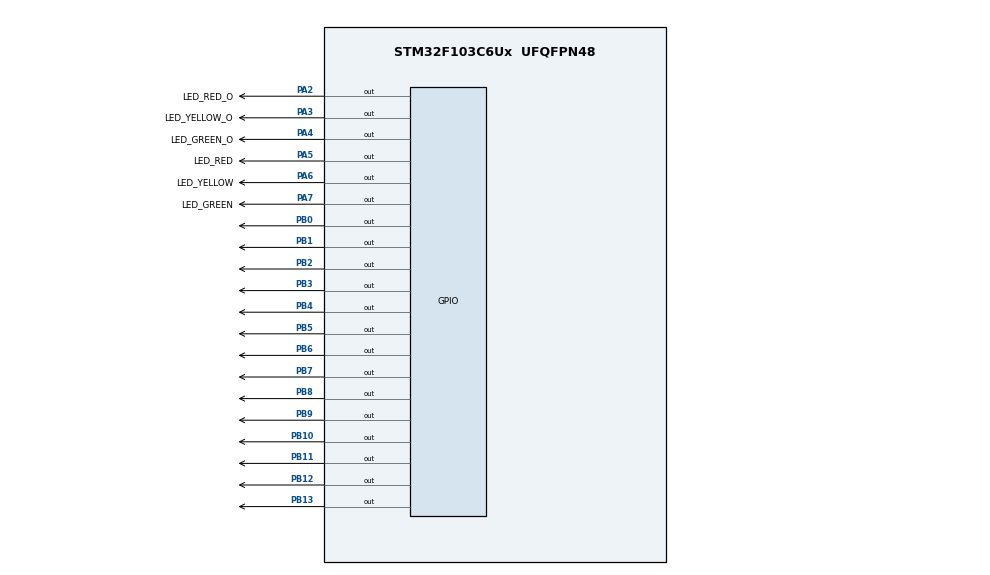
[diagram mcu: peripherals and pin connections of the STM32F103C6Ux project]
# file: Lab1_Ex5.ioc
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Mcu.Family=STM32F1
Mcu.Name=STM32F103C6Ux
Mcu.Package=UFQFPN48
NVIC.PriorityGroup=NVIC_PRIORITYGROUP_4
PA2.GPIO_Label=LED_RED_O
PA2.Signal=GPIO_Output
PA3.GPIO_Label=LED_YELLOW_O
PA3.Signal=GPIO_Output
PA4.GPIO_Label=LED_GREEN_O
PA4.Signal=GPIO_Output
PA5.GPIO_Label=LED_RED
PA5.Signal=GPIO_Output
PA6.GPIO_Label=LED_YELLOW
PA6.Signal=GPIO_Output
PA7.GPIO_Label=LED_GREEN
PA7.Signal=GPIO_Output
PB0.Signal=GPIO_Output
PB1.Signal=GPIO_Output
PB10.Signal=GPIO_Output
PB11.Signal=GPIO_Output
PB12.Signal=GPIO_Output
PB13.Signal=GPIO_Output
PB2.Signal=GPIO_Output
PB3.Signal=GPIO_Output
PB4.Signal=GPIO_Output
PB5.Signal=GPIO_Output
PB6.Signal=GPIO_Output
PB7.Signal=GPIO_Output
PB8.Signal=GPIO_Output
PB9.Signal=GPIO_Output
ProjectManager.HeapSize=0x200
ProjectManager.StackSize=0x400
ProjectManager.TargetToolchain=STM32CubeIDE
RCC.APB1Freq_Value=8000000
RCC.APB2Freq_Value=8000000
VP_SYS_VS_ND.Mode=No_Debug
board=custom

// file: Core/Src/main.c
/* USER CODE BEGIN Header */
/**
  ******************************************************************************
  * @file           : main.c
  * @brief          : Main program body
  ******************************************************************************
  * @attention
  *
  * <h2><center>&copy; Copyright (c) 2022 STMicroelectronics.
  * All rights reserved.</center></h2>
  *
  * This software component is licensed by ST under BSD 3-Clause license,
  * the "License"; You may not use this file except in compliance with the
  * License. You may obtain a copy of the License at:
  *                        opensource.org/licenses/BSD-3-Clause
  *
  ******************************************************************************
  */
/* USER CODE END Header */
#include "main.h"

void SystemClock_Config(void);
static void MX_GPIO_Init(void);

int main(void)
{
  /* USER CODE BEGIN 1 */
			void displaySeg7A(int count_time){//7seg_control_COM_ANODE
				switch(count_time){

					  case 1:{
						  HAL_GPIO_WritePin(GPIOB,GPIO_PIN_13,1);
						  HAL_GPIO_WritePin(GPIOB,GPIO_PIN_7,1);
						  HAL_GPIO_WritePin(GPIOB,GPIO_PIN_8,0);
						  HAL_GPIO_WritePin(GPIOB,GPIO_PIN_9,0);
						  HAL_GPIO_WritePin(GPIOB,GPIO_PIN_10,1);
						  HAL_GPIO_WritePin(GPIOB,GPIO_PIN_11,1);
						  HAL_GPIO_WritePin(GPIOB,GPIO_PIN_12,1);
						  break ;
					  	  };
					  case 2:{
						  HAL_GPIO_WritePin(GPIOB,GPIO_PIN_7,0);
						   HAL_GPIO_WritePin(GPIOB,GPIO_PIN_9,1);
						   HAL_GPIO_WritePin(GPIOB,GPIO_PIN_10,0);
						   HAL_GPIO_WritePin(GPIOB,GPIO_PIN_11,0);
						   HAL_GPIO_WritePin(GPIOB,GPIO_PIN_13,0);
						   HAL_GPIO_WritePin(GPIOB,GPIO_PIN_8,0);
						   HAL_GPIO_WritePin(GPIOB,GPIO_PIN_12,1);
						   break ;
					  };
					  case 3: {
						  HAL_GPIO_WritePin(GPIOB,GPIO_PIN_7,0);
						  HAL_GPIO_WritePin(GPIOB,GPIO_PIN_8,0);
						  HAL_GPIO_WritePin(GPIOB,GPIO_PIN_9,0);
						  HAL_GPIO_WritePin(GPIOB,GPIO_PIN_10,0);
						  HAL_GPIO_WritePin(GPIOB,GPIO_PIN_11,1);
						  HAL_GPIO_WritePin(GPIOB,GPIO_PIN_12,1);
						  HAL_GPIO_WritePin(GPIOB,GPIO_PIN_13,0);
						  break;
					  };
					  case 4:{
						  HAL_GPIO_WritePin(GPIOB,GPIO_PIN_7,1);
						  HAL_GPIO_WritePin(GPIOB,GPIO_PIN_8,0);
						  HAL_GPIO_WritePin(GPIOB,GPIO_PIN_9,0);
						  HAL_GPIO_WritePin(GPIOB,GPIO_PIN_10,1);
						  HAL_GPIO_WritePin(GPIOB,GPIO_PIN_11,1);
						  HAL_GPIO_WritePin(GPIOB,GPIO_PIN_12,0);
						  HAL_GPIO_WritePin(GPIOB,GPIO_PIN_13,0);
						  break;
					  };
					  case 5:{
						  HAL_GPIO_WritePin(GPIOB,GPIO_PIN_7,0);
						  HAL_GPIO_WritePin(GPIOB,GPIO_PIN_8,1);
						  HAL_GPIO_WritePin(GPIOB,GPIO_PIN_9,0);
						  HAL_GPIO_WritePin(GPIOB,GPIO_PIN_10,0);
						  HAL_GPIO_WritePin(GPIOB,GPIO_PIN_11,1);
						  HAL_GPIO_WritePin(GPIOB,GPIO_PIN_12,0);
						  HAL_GPIO_WritePin(GPIOB,GPIO_PIN_13,0);
			//			  HAL_GPIO_WritePin( LED_YELLOW_GPIO_Port , LED_YELLOW_Pin,0);
			//			  HAL_GPIO_WritePin( LED_RED_GPIO_Port , LED_RED_Pin,1);
			//			  HAL_GPIO_WritePin( LED_GREEN_GPIO_Port , LED_GREEN_Pin,1);

						  break;
					  };
			//		  case 6:{
			//			  HAL_GPIO_WritePin(GPIOB,GPIO_PIN_7,0);
			//			  HAL_GPIO_WritePin(GPIOB,GPIO_PIN_8,1);
			//			  HAL_GPIO_WritePin(GPIOB,GPIO_PIN_9,0);
			//			  HAL_GPIO_WritePin(GPIOB,GPIO_PIN_10,0);
			//			  HAL_GPIO_WritePin(GPIOB,GPIO_PIN_11,0);
			//			  HAL_GPIO_WritePin(GPIOB,GPIO_PIN_12,0);
			//			  HAL_GPIO_WritePin(GPIOB,GPIO_PIN_13,0);
			//			  break;
			//		  };
			//		  case 7:{
			//			  HAL_GPIO_WritePin(GPIOB,GPIO_PIN_7,0);
			//			  HAL_GPIO_WritePin(GPIOB,GPIO_PIN_8,0);
			//			  HAL_GPIO_WritePin(GPIOB,GPIO_PIN_9,0);
			//			  HAL_GPIO_WritePin(GPIOB,GPIO_PIN_10,1);
			//			  HAL_GPIO_WritePin(GPIOB,GPIO_PIN_11,1);
			//			  HAL_GPIO_WritePin(GPIOB,GPIO_PIN_12,1);
			//			  HAL_GPIO_WritePin(GPIOB,GPIO_PIN_13,1);
			////			  HAL_GPIO_WritePin( LED_GREEN_GPIO_Port , LED_GREEN_Pin,0);
			////			  HAL_GPIO_WritePin(LED_YELLOW_GPIO_Port , LED_YELLOW_Pin,1);
			////			  HAL_GPIO_WritePin( LED_RED_GPIO_Port , LED_RED_Pin,1);
			//			  break;
			//		  };
			//		  case 8:{
			//			  HAL_GPIO_WritePin(GPIOB,GPIO_PIN_7,0);
			//			  HAL_GPIO_WritePin(GPIOB,GPIO_PIN_8,0);
			//			  HAL_GPIO_WritePin(GPIOB,GPIO_PIN_9,0);
			//			  HAL_GPIO_WritePin(GPIOB,GPIO_PIN_10,0);
			//			  HAL_GPIO_WritePin(GPIOB,GPIO_PIN_11,0);
			//			  HAL_GPIO_WritePin(GPIOB,GPIO_PIN_12,0);
			//			  HAL_GPIO_WritePin(GPIOB,GPIO_PIN_13,0);
			//			 		  break;
			//		  };
			//		  case 9:{
			//			  HAL_GPIO_WritePin(GPIOB,GPIO_PIN_11,1);
			//			  HAL_GPIO_WritePin(GPIOB,GPIO_PIN_7,0);
			//			  HAL_GPIO_WritePin(GPIOB,GPIO_PIN_8,0);
			//			  HAL_GPIO_WritePin(GPIOB,GPIO_PIN_9,0);
			//			  HAL_GPIO_WritePin(GPIOB,GPIO_PIN_10,0);
			//			  HAL_GPIO_WritePin(GPIOB,GPIO_PIN_12,0);
			//			  HAL_GPIO_WritePin(GPIOB,GPIO_PIN_13,0);
			//			  count_time=-1;
			//			  break;
			//		  };
					  default:{
						  HAL_GPIO_WritePin(GPIOB,GPIO_PIN_7,0);
						 			  HAL_GPIO_WritePin(GPIOB,GPIO_PIN_8,0);
						 			  HAL_GPIO_WritePin(GPIOB,GPIO_PIN_9,0);
						 			  HAL_GPIO_WritePin(GPIOB,GPIO_PIN_10,0);
						 			  HAL_GPIO_WritePin(GPIOB,GPIO_PIN_11,0);
						 			  HAL_GPIO_WritePin(GPIOB,GPIO_PIN_12,0);
						 			  HAL_GPIO_WritePin(GPIOB,GPIO_PIN_13,0);
						 			  break;
					  }
					  };
			}
			void displaySeg7B(int count_time){
				switch(count_time){

					  case 1:{
						  HAL_GPIO_WritePin(GPIOB,GPIO_PIN_6,1);
						  HAL_GPIO_WritePin(GPIOB,GPIO_PIN_0,1);
						  HAL_GPIO_WritePin(GPIOB,GPIO_PIN_1,0);
						  HAL_GPIO_WritePin(GPIOB,GPIO_PIN_2,0);
						  HAL_GPIO_WritePin(GPIOB,GPIO_PIN_3,1);
						  HAL_GPIO_WritePin(GPIOB,GPIO_PIN_4,1);
						  HAL_GPIO_WritePin(GPIOB,GPIO_PIN_5,1);
						  break ;
					  	  };
					  case 2:{
						  HAL_GPIO_WritePin(GPIOB,GPIO_PIN_0,0);
						   HAL_GPIO_WritePin(GPIOB,GPIO_PIN_2,1);
						   HAL_GPIO_WritePin(GPIOB,GPIO_PIN_3,0);
						   HAL_GPIO_WritePin(GPIOB,GPIO_PIN_4,0);
						   HAL_GPIO_WritePin(GPIOB,GPIO_PIN_6,0);
						   HAL_GPIO_WritePin(GPIOB,GPIO_PIN_1,0);
						   HAL_GPIO_WritePin(GPIOB,GPIO_PIN_5,1);
						   break ;
					  };
					  case 3: {
						  HAL_GPIO_WritePin(GPIOB,GPIO_PIN_0,0);
						  HAL_GPIO_WritePin(GPIOB,GPIO_PIN_1,0);
						  HAL_GPIO_WritePin(GPIOB,GPIO_PIN_2,0);
						  HAL_GPIO_WritePin(GPIOB,GPIO_PIN_3,0);
						  HAL_GPIO_WritePin(GPIOB,GPIO_PIN_4,1);
						  HAL_GPIO_WritePin(GPIOB,GPIO_PIN_5,1);
						  HAL_GPIO_WritePin(GPIOB,GPIO_PIN_6,0);
						  break;
					  };
					  case 4:{
						  HAL_GPIO_WritePin(GPIOB,GPIO_PIN_0,1);
						  HAL_GPIO_WritePin(GPIOB,GPIO_PIN_1,0);
						  HAL_GPIO_WritePin(GPIOB,GPIO_PIN_2,0);
						  HAL_GPIO_WritePin(GPIOB,GPIO_PIN_3,1);
						  HAL_GPIO_WritePin(GPIOB,GPIO_PIN_4,1);
						  HAL_GPIO_WritePin(GPIOB,GPIO_PIN_5,0);
						  HAL_GPIO_WritePin(GPIOB,GPIO_PIN_6,0);
						  break;
					  };
					  case 5:{
						  HAL_GPIO_WritePin(GPIOB,GPIO_PIN_0,0);
						  HAL_GPIO_WritePin(GPIOB,GPIO_PIN_1,1);
						  HAL_GPIO_WritePin(GPIOB,GPIO_PIN_2,0);
						  HAL_GPIO_WritePin(GPIOB,GPIO_PIN_3,0);
						  HAL_GPIO_WritePin(GPIOB,GPIO_PIN_4,1);
						  HAL_GPIO_WritePin(GPIOB,GPIO_PIN_5,0);
						  HAL_GPIO_WritePin(GPIOB,GPIO_PIN_6,0);
			//			  HAL_GPIO_WritePin( LED_YELLOW_GPIO_Port , LED_YELLOW_Pin,0);
			//			  HAL_GPIO_WritePin( LED_RED_GPIO_Port , LED_RED_Pin,1);
			//			  HAL_GPIO_WritePin( LED_GREEN_GPIO_Port , LED_GREEN_Pin,1);

						  break;
					  };
			//		  case 6:{
			//			  HAL_GPIO_WritePin(GPIOB,GPIO_PIN_0,0);
			//			  HAL_GPIO_WritePin(GPIOB,GPIO_PIN_1,1);
			//			  HAL_GPIO_WritePin(GPIOB,GPIO_PIN_2,0);
			//			  HAL_GPIO_WritePin(GPIOB,GPIO_PIN_3,0);
			//			  HAL_GPIO_WritePin(GPIOB,GPIO_PIN_4,0);
			//			  HAL_GPIO_WritePin(GPIOB,GPIO_PIN_5,0);
			//			  HAL_GPIO_WritePin(GPIOB,GPIO_PIN_6,0);
			//			  break;
			//		  };
			//		  case 7:{
			//			  HAL_GPIO_WritePin(GPIOB,GPIO_PIN_0,0);
			//			  HAL_GPIO_WritePin(GPIOB,GPIO_PIN_1,0);
			//			  HAL_GPIO_WritePin(GPIOB,GPIO_PIN_2,0);
			//			  HAL_GPIO_WritePin(GPIOB,GPIO_PIN_3,1);
			//			  HAL_GPIO_WritePin(GPIOB,GPIO_PIN_4,1);
			//			  HAL_GPIO_WritePin(GPIOB,GPIO_PIN_5,1);
			//			  HAL_GPIO_WritePin(GPIOB,GPIO_PIN_6,1);
			////			  HAL_GPIO_WritePin( LED_GREEN_GPIO_Port , LED_GREEN_Pin,0);
			////			  HAL_GPIO_WritePin(LED_YELLOW_GPIO_Port , LED_YELLOW_Pin,1);
			////			  HAL_GPIO_WritePin( LED_RED_GPIO_Port , LED_RED_Pin,1);
			//			  break;
			//		  };
			//		  case 8:{
			//			  HAL_GPIO_WritePin(GPIOB,GPIO_PIN_0,0);
			//			  HAL_GPIO_WritePin(GPIOB,GPIO_PIN_1,0);
			//			  HAL_GPIO_WritePin(GPIOB,GPIO_PIN_2,0);
			//			  HAL_GPIO_WritePin(GPIOB,GPIO_PIN_3,0);
			//			  HAL_GPIO_WritePin(GPIOB,GPIO_PIN_4,0);
			//			  HAL_GPIO_WritePin(GPIOB,GPIO_PIN_5,0);
			//			  HAL_GPIO_WritePin(GPIOB,GPIO_PIN_6,0);
			//			 		  break;
			//		  };
			//		  case 9:{
			//			  HAL_GPIO_WritePin(GPIOB,GPIO_PIN_4,1);
			//			  HAL_GPIO_WritePin(GPIOB,GPIO_PIN_0,0);
			//			  HAL_GPIO_WritePin(GPIOB,GPIO_PIN_1,0);
			//			  HAL_GPIO_WritePin(GPIOB,GPIO_PIN_2,0);
			//			  HAL_GPIO_WritePin(GPIOB,GPIO_PIN_3,0);
			//			  HAL_GPIO_WritePin(GPIOB,GPIO_PIN_5,0);
			//			  HAL_GPIO_WritePin(GPIOB,GPIO_PIN_6,0);
			//			  count_time=-1;
			//			  break;
			//		  };

					  };
			}

  /* USER CODE END 1 */

  /* MCU Configuration--------------------------------------------------------*/

  /* Reset of all peripherals, Initializes the Flash interface and the Systick. */
  HAL_Init();

  /* Configure the system clock */
  SystemClock_Config();

  /* Initialize all configured peripherals */
  MX_GPIO_Init();

  /* Infinite loop */
  /* USER CODE BEGIN WHILE */
  	  	  int RedTime=5,GreenTime=3,YellowTime=2;
		  int status=0,statusO=2;
		  int CountTime=0,CountTimeO=0;
		  while (1)
		  		  {
		      /* USER CODE END WHILE */
		  			  if (status==0){
		  				  HAL_GPIO_WritePin(GPIOA,LED_YELLOW_Pin,0);
	  					  HAL_GPIO_WritePin(GPIOA,LED_RED_O_Pin,0);
		  				  displaySeg7B(RedTime-CountTime);
		  				  HAL_GPIO_WritePin(GPIOA,LED_RED_Pin,1);

		  				 CountTime++;
		  				  if(statusO==1){
		  					  displaySeg7A(YellowTime-CountTimeO);
		  			  		  CountTimeO++;
		  			  		  HAL_GPIO_WritePin(GPIOA,LED_GREEN_O_Pin,0);
		  			  		  HAL_GPIO_WritePin(GPIOA,LED_YELLOW_O_Pin,1);
		  					  if(CountTimeO==YellowTime){
		  				  		  statusO=0;
		  				  		  CountTimeO=0;
		  				  	  }
		  				  }
		  				  if(statusO==2){
		  					  displaySeg7A(GreenTime-CountTimeO);
		  					  CountTimeO++;
		  					  HAL_GPIO_WritePin(GPIOA,LED_GREEN_O_Pin,1);
		  					  if(CountTimeO==GreenTime){
		  						  statusO=1;
		  						  CountTimeO=0;
		  					  }
		  				  }
		  				  if(CountTime>RedTime){
		  					  status=1;CountTime=0;
		  				  }
		  			  }
		  			  if (status==1){
		  				  displaySeg7B(GreenTime-CountTime);
	  					  displaySeg7A(RedTime-CountTimeO);

		  				  HAL_GPIO_WritePin(GPIOA,LED_GREEN_Pin,1);
		  				  HAL_GPIO_WritePin(GPIOA,LED_RED_Pin,0);

	  					  HAL_GPIO_WritePin(GPIOA,LED_RED_O_Pin,1);
	  					  HAL_GPIO_WritePin(GPIOA,LED_YELLOW_O_Pin,0);
	  					  CountTimeO++;

		  				  CountTime++;
		  				  if(CountTime>GreenTime){
		  					  status=2;CountTime=0;CountTimeO--;
		  				  }
		  			  }
		  			  if (status==2){

		  				  HAL_GPIO_WritePin(GPIOA,LED_YELLOW_Pin,1);
		  				  HAL_GPIO_WritePin(GPIOA,LED_GREEN_Pin,0);
		  				  HAL_GPIO_WritePin(GPIOA,LED_RED_O_Pin,1);
		  				  displaySeg7B(YellowTime-CountTime);
		  				  CountTime++;
		  				  displaySeg7A(RedTime-CountTimeO);
		  				  CountTimeO++;
		  				  if(CountTime>=YellowTime){
		  					  status=0;CountTime=0;
		  					  statusO=2;CountTimeO=0;

		  				  }

		  			  }

		  			  HAL_Delay(1000);
		  		  }
}

void SystemClock_Config(void)
{
  RCC_OscInitTypeDef RCC_OscInitStruct = {0};
  RCC_ClkInitTypeDef RCC_ClkInitStruct = {0};

  /** Initializes the RCC Oscillators according to the specified parameters
  * in the RCC_OscInitTypeDef structure.
  */
  RCC_OscInitStruct.OscillatorType = RCC_OSCILLATORTYPE_HSI;
  RCC_OscInitStruct.HSIState = RCC_HSI_ON;
  RCC_OscInitStruct.HSICalibrationValue = RCC_HSICALIBRATION_DEFAULT;
  RCC_OscInitStruct.PLL.PLLState = RCC_PLL_NONE;
  if (HAL_RCC_OscConfig(&RCC_OscInitStruct) != HAL_OK)
  {
    Error_Handler();
  }
  /** Initializes the CPU, AHB and APB buses clocks
  */
  RCC_ClkInitStruct.ClockType = RCC_CLOCKTYPE_HCLK|RCC_CLOCKTYPE_SYSCLK
                              |RCC_CLOCKTYPE_PCLK1|RCC_CLOCKTYPE_PCLK2;
  RCC_ClkInitStruct.SYSCLKSource = RCC_SYSCLKSOURCE_HSI;
  RCC_ClkInitStruct.AHBCLKDivider = RCC_SYSCLK_DIV1;
  RCC_ClkInitStruct.APB1CLKDivider = RCC_HCLK_DIV1;
  RCC_ClkInitStruct.APB2CLKDivider = RCC_HCLK_DIV1;

  if (HAL_RCC_ClockConfig(&RCC_ClkInitStruct, FLASH_LATENCY_0) != HAL_OK)
  {
    Error_Handler();
  }
}

static void MX_GPIO_Init(void)
{
  GPIO_InitTypeDef GPIO_InitStruct = {0};

  /* GPIO Ports Clock Enable */
  __HAL_RCC_GPIOA_CLK_ENABLE();
  __HAL_RCC_GPIOB_CLK_ENABLE();

  /*Configure GPIO pin Output Level */
  HAL_GPIO_WritePin(GPIOA, LED_RED_O_Pin|LED_YELLOW_O_Pin|LED_GREEN_O_Pin|LED_RED_Pin
                          |LED_YELLOW_Pin|LED_GREEN_Pin, GPIO_PIN_RESET);

  /*Configure GPIO pin Output Level */
  HAL_GPIO_WritePin(GPIOB, GPIO_PIN_0|GPIO_PIN_1|GPIO_PIN_2|GPIO_PIN_10
                          |GPIO_PIN_11|GPIO_PIN_12|GPIO_PIN_13|GPIO_PIN_3
                          |GPIO_PIN_4|GPIO_PIN_5|GPIO_PIN_6|GPIO_PIN_7
                          |GPIO_PIN_8|GPIO_PIN_9, GPIO_PIN_RESET);

  /*Configure GPIO pins : LED_RED_O_Pin LED_YELLOW_O_Pin LED_GREEN_O_Pin LED_RED_Pin
                           LED_YELLOW_Pin LED_GREEN_Pin */
  GPIO_InitStruct.Pin = LED_RED_O_Pin|LED_YELLOW_O_Pin|LED_GREEN_O_Pin|LED_RED_Pin
                          |LED_YELLOW_Pin|LED_GREEN_Pin;
  GPIO_InitStruct.Mode = GPIO_MODE_OUTPUT_PP;
  GPIO_InitStruct.Pull = GPIO_NOPULL;
  GPIO_InitStruct.Speed = GPIO_SPEED_FREQ_LOW;
  HAL_GPIO_Init(GPIOA, &GPIO_InitStruct);

  /*Configure GPIO pins : PB0 PB1 PB2 PB10
                           PB11 PB12 PB13 PB3
                           PB4 PB5 PB6 PB7
                           PB8 PB9 */
  GPIO_InitStruct.Pin = GPIO_PIN_0|GPIO_PIN_1|GPIO_PIN_2|GPIO_PIN_10
                          |GPIO_PIN_11|GPIO_PIN_12|GPIO_PIN_13|GPIO_PIN_3
                          |GPIO_PIN_4|GPIO_PIN_5|GPIO_PIN_6|GPIO_PIN_7
                          |GPIO_PIN_8|GPIO_PIN_9;
  GPIO_InitStruct.Mode = GPIO_MODE_OUTPUT_PP;
  GPIO_InitStruct.Pull = GPIO_NOPULL;
  GPIO_InitStruct.Speed = GPIO_SPEED_FREQ_LOW;
  HAL_GPIO_Init(GPIOB, &GPIO_InitStruct);

}

void Error_Handler(void)
{
  __disable_irq();
  while (1)
  {
  }
}

/************************ (C) COPYRIGHT STMicroelectronics *****END OF FILE****/
